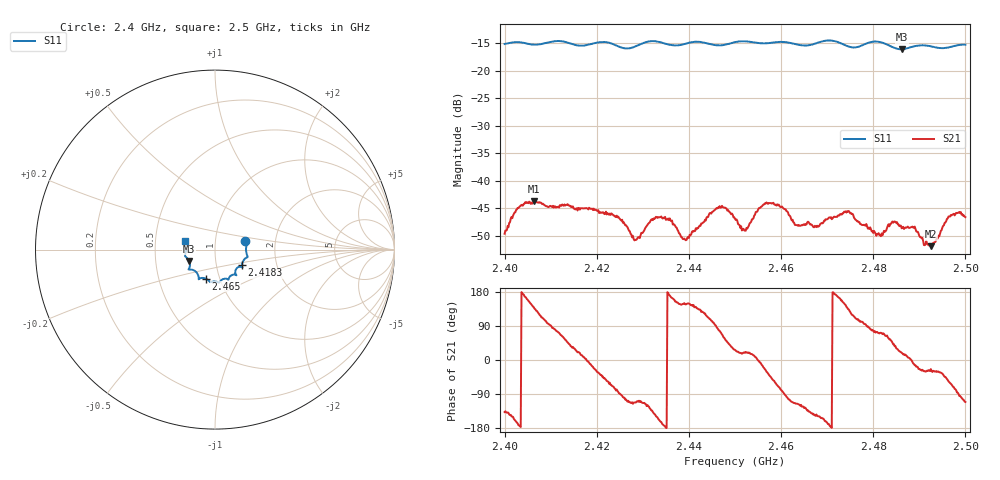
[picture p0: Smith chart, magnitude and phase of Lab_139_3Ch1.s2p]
# Hz S RI R 50
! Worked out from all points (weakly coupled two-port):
!   601 points, 2.4 GHz to 2.5 GHz, reference 50 ohm
!   highest |S21| = -43.71 dB at 2.4063 GHz (marker M1); lowest = -51.9 dB at 2.4925 GHz (marker M2)
!   lowest |S11| = -16.1 dB at 2.4862 GHz (marker M3), VSWR 1.37, Z = 37.2 - j4.84 ohm
!   |S11| at or under -10 dB: start of sweep to end of sweep
!   S12 and S22 are empty: the file has one direction only
!   S11 on the Smith chart (normalised r, x): 2.4 GHz: 1.40, +0.14; 2.4183 GHz: 1.33, -0.24; 2.465 GHz: 0.86, -0.28; 2.5 GHz: 0.71, +0.07
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2.4e9  0.1689 0.0469  -0.00242 -0.00224  0 0  0 0
2.403e9  0.1791 0.0332  -0.00558 -0.000796  0 0  0 0
2.406333e9  0.1728 0.00489  -0.00493 0.00426  0 0  0 0
2.416667e9  0.1546 -0.0683  0.00548 0.00126  0 0  0 0
2.418333e9  0.1502 -0.0869  0.00564 -0.000686  0 0  0 0
2.424833e9  0.1355 -0.0952  0.000145 -0.00458  0 0  0 0
2.4285e9  0.1129 -0.1237  -0.00109 -0.00268  0 0  0 0
2.433333e9  0.1177 -0.1411  -0.00424 -0.00196  0 0  0 0
2.439167e9  0.0776 -0.1577  -0.00245 0.00157  0 0  0 0
2.446167e9  0.0523 -0.1626  0.00057 0.00557  0 0  0 0
2.45e9  0.0263 -0.1804  0.00402 0.00202  0 0  0 0
2.452333e9  0.0208 -0.1841  0.00328 0.00128  0 0  0 0
2.457833e9  -0.0163 -0.1789  0.00437 -0.00448  0 0  0 0
2.465e9  -0.0525 -0.1615  -0.00241 -0.00322  0 0  0 0
2.466667e9  -0.0713 -0.1577  -0.00309 -0.0025  0 0  0 0
2.474167e9  -0.0952 -0.1398  -0.00398 0.00325  0 0  0 0
2.481167e9  -0.1473 -0.1098  0.00107 0.00316  0 0  0 0
2.483333e9  -0.1411 -0.0964  0.00217 0.00339  0 0  0 0
2.486167e9  -0.1436 -0.0635  0.00349 0.0012  0 0  0 0
2.4925e9  -0.1651 -0.0248  0.00232 -0.00103  0 0  0 0
2.4965e9  -0.1622 0.0217  0.00248 -0.00403  0 0  0 0
2.5e9  -0.1665 0.0469  -0.00166 -0.00436  0 0  0 0
